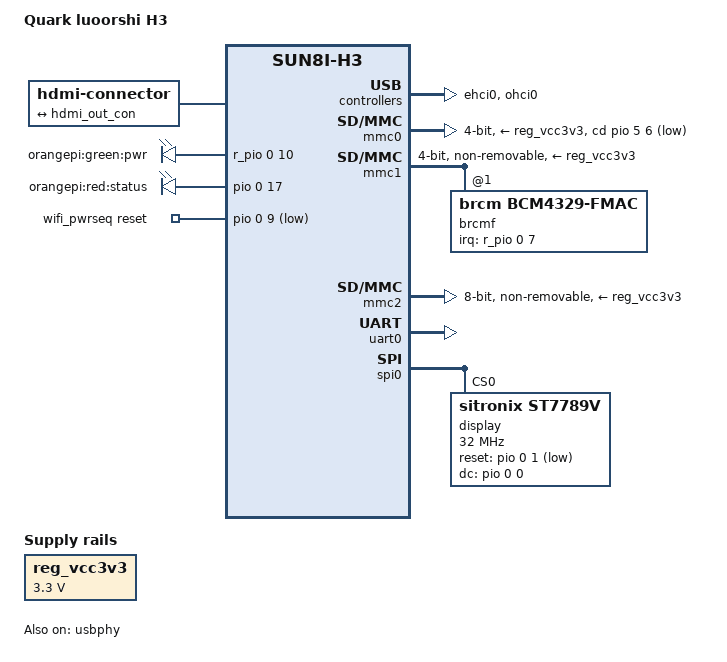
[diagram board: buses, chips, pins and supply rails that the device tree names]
/*
 * Copyright (C) 2017 Jagan Teki <jteki@openedev.com>
 * Copyright (C) 2018 Diego Rondini <diego.rondini@kynetics.com>
 *
 * This file is dual-licensed: you can use it either under the terms
 * of the GPL or the X11 license, at your option. Note that this dual
 * licensing only applies to this file, and not this project as a
 * whole.
 *
 *  a) This file is free software; you can redistribute it and/or
 *     modify it under the terms of the GNU General Public License as
 *     published by the Free Software Foundation; either version 2 of the
 *     License, or (at your option) any later version.
 *
 *     This file is distributed in the hope that it will be useful,
 *     but WITHOUT ANY WARRANTY; without even the implied warranty of
 *     MERCHANTABILITY or FITNESS FOR A PARTICULAR PURPOSE.  See the
 *     GNU General Public License for more details.
 *
 * Or, alternatively,
 *
 *  b) Permission is hereby granted, free of charge, to any person
 *     obtaining a copy of this software and associated documentation
 *     files (the "Software"), to deal in the Software without
 *     restriction, including without limitation the rights to use,
 *     copy, modify, merge, publish, distribute, sublicense, and/or
 *     sell copies of the Software, and to permit persons to whom the
 *     Software is furnished to do so, subject to the following
 *     conditions:
 *
 *     The above copyright notice and this permission notice shall be
 *     included in all copies or substantial portions of the Software.
 *
 *     THE SOFTWARE IS PROVIDED "AS IS", WITHOUT WARRANTY OF ANY KIND,
 *     EXPRESS OR IMPLIED, INCLUDING BUT NOT LIMITED TO THE WARRANTIES
 *     OF MERCHANTABILITY, FITNESS FOR A PARTICULAR PURPOSE AND
 *     NONINFRINGEMENT. IN NO EVENT SHALL THE AUTHORS OR COPYRIGHT
 *     HOLDERS BE LIABLE FOR ANY CLAIM, DAMAGES OR OTHER LIABILITY,
 *     WHETHER IN AN ACTION OF CONTRACT, TORT OR OTHERWISE, ARISING
 *     FROM, OUT OF OR IN CONNECTION WITH THE SOFTWARE OR THE USE OR
 *     OTHER DEALINGS IN THE SOFTWARE.
 */

/dts-v1/;

#include "sun8i-h3.dtsi"

#include <dt-bindings/gpio/gpio.h>

/ {
	model = "Quark luoorshi H3";
	compatible = "luoorshi,Quark-h3", "allwinner,sun8i-h3";

	aliases {
		serial0 = &uart0;
		spi0 = &spi0;
	};

	chosen {
		stdout-path = "serial0:115200n8";
	};

	connector {
		compatible = "hdmi-connector";
		type = "a";

		port {
			hdmi_con_in: endpoint {
				remote-endpoint = <&hdmi_out_con>;
			};
		};
	};

	leds {
		compatible = "gpio-leds";

		led-0 {
			label = "orangepi:green:pwr";
			gpios = <&r_pio 0 10 GPIO_ACTIVE_HIGH>;
			default-state = "on";
		};

		led-1 {
			label = "orangepi:red:status";
			gpios = <&pio 0 17 GPIO_ACTIVE_HIGH>;
		};
	};

	reg_vcc3v3: vcc3v3 {
		compatible = "regulator-fixed";
		regulator-name = "vcc3v3";
		regulator-min-microvolt = <3300000>;
		regulator-max-microvolt = <3300000>;
	};

	wifi_pwrseq: wifi_pwrseq {
		compatible = "mmc-pwrseq-simple";
		reset-gpios = <&pio 0 9 GPIO_ACTIVE_LOW>; /* PA9 */
		post-power-on-delay-ms = <200>;
	};
};

/* Disable DE/HDMI so U-Boot uses SPI ST7789V for console (no LCD/HDMI on board) */
&de {
	status = "disabled";
};

&ehci0 {
	status = "okay";
};

&hdmi {
	status = "disabled";
};

&hdmi_out {
	hdmi_out_con: endpoint {
		remote-endpoint = <&hdmi_con_in>;
	};
};

&mmc0 {
	vmmc-supply = <&reg_vcc3v3>;
	bus-width = <4>;
	cd-gpios = <&pio 5 6 GPIO_ACTIVE_LOW>;
	status = "okay";
};

&mmc1 {
	vmmc-supply = <&reg_vcc3v3>;
	vqmmc-supply = <&reg_vcc3v3>;
	mmc-pwrseq = <&wifi_pwrseq>;
	bus-width = <4>;
	non-removable;
	status = "okay";

	brcmf: wifi@1 {
		reg = <1>;
		compatible = "brcm,bcm4329-fmac";
		interrupt-parent = <&r_pio>;
		interrupts = <0 7 IRQ_TYPE_LEVEL_LOW>;	/* PL7 */
		interrupt-names = "host-wake";
	};
};

&mmc2 {
	pinctrl-names = "default";
	pinctrl-0 = <&mmc2_8bit_pins>;
	vmmc-supply = <&reg_vcc3v3>;
	bus-width = <8>;
	non-removable;
	cap-mmc-hw-reset;
	status = "okay";
};

&ohci0 {
	status = "okay";
};

&uart0 {
	pinctrl-names = "default";
	pinctrl-0 = <&uart0_pa_pins>;
	status = "okay";
};

&spi0 {
	status = "okay";
	u-boot,dm-pre-reloc;

	display@0 {
		compatible = "sitronix,st7789v";
		reg = <0>;
		spi-max-frequency = <32000000>;
		/* PA1=UART2_RX (reset), PA0=UART2_TX (dc); avoid PA4/PA5 (UART0 console) */
		reset-gpios = <&pio 0 1 GPIO_ACTIVE_LOW>;
		dc-gpios = <&pio 0 0 GPIO_ACTIVE_HIGH>;
		/* Display offset: X direction 0x34, Y direction 0x28 */
		col-offset = <0x34>;
		row-offset = <0x28>;
		/* BGR color order */
		rotation = <270>;
		bgr = <1>;
		//bgr = <0>;
		u-boot,dm-pre-reloc;
	};
};

&usbphy {
	status = "okay";
};
